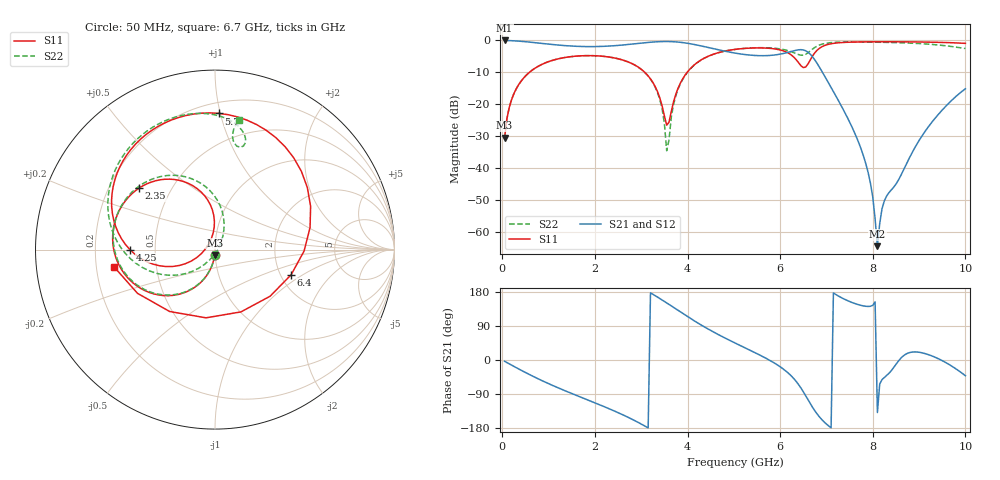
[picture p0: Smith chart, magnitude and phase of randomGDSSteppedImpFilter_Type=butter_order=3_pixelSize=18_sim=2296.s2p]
! freq	dB(S11)	phase(S11)	dB(S12)	phase(S12)
!  dB(S21)	phase(S21)	dB(S22)	phase(S22)
!S-par simulation data
#  GHz  S  DB  R 50
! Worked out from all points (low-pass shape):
!   200 points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, 50 MHz to 10 GHz, reference 50 ohm
!   highest |S21| = -0.01 dB at 50 MHz (marker M1); lowest = -64.3 dB at 8.1 GHz (marker M2)
!   |S21| within 3 dB of the highest: start of sweep to 4.692 GHz; 6.364 GHz to 6.507 GHz (142.6 MHz wide, 2.22 % of centre)
!   lowest |S11| = -30.4 dB at 50 MHz (marker M3), VSWR 1.06, Z = 49.7 - j3 ohm
!   |S11| at or under -10 dB: start of sweep to 583.7 MHz; 3.078 GHz to 3.99 GHz (912.1 MHz wide, 25.8 % of centre)
!   |S22| runs from -34.5 to -0.5 dB; largest |S21 - S12| = 0
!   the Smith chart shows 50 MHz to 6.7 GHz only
!   S11 on the Smith chart (normalised r, x): 50 MHz: 0.99, -0.06; 2.35 GHz: 0.33, +0.32; 4.25 GHz: 0.36, -0.00; 5.7 GHz: 0.28, +0.99; 6.4 GHz: 2.28, -0.80; 6.7 GHz: 0.27, -0.08
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0.05  -30.41 -93.5  -0.01 -3.4  -0.01 -3.4  -30.42 -93.5
0.2  -18.52 -103.9  -0.08 -13.5  -0.08 -13.5  -18.52 -104.1
0.5  -11.13 -123.2  -0.40 -33.0  -0.40 -33.0  -11.13 -123.8
1.75  -4.77 170.0  -1.91 -100.8  -1.91 -100.8  -4.78 167.8
2.35  -5.29 141.0  -1.72 -130.9  -1.72 -130.9  -5.29 137.3
3.4  -17.90 91.9  -0.38 162.4  -0.38 162.4  -18.36 65.8
3.55  -26.47 135.8  -0.34 150.6  -0.34 150.6  -34.47 7.5
3.8  -14.77 -154.5  -0.52 130.5  -0.52 130.5  -15.07 -136.4
4.25  -6.49 -179.9  -1.58 95.6  -1.58 95.6  -6.53 -173.5
5.05  -2.75 130.1  -4.02 43.4  -4.02 43.4  -2.75 135.5
5.7  -2.39 88.3  -4.75 4.2  -4.75 4.2  -2.28 101.1
6.1  -3.43 49.3  -3.98 -26.8  -3.98 -26.8  -2.93 81.4
6.4  -7.00 -18.2  -2.92 -65.3  -2.92 -65.3  -4.45 74.6
6.55  -8.33 -97.6  -3.22 -94.0  -3.22 -94.0  -4.34 80.1
6.7  -4.86 -170.5  -5.14 -124.9  -5.14 -124.9  -2.69 79.6
7.1  -1.03 108.9  -14.70 -178.8  -14.70 -178.8  -0.68 52.9
7.75  -0.46 57.3  -34.01 144.0  -34.01 144.0  -0.49 14.6
8  -0.43 42.8  -48.96 144.4  -48.96 144.4  -0.53 0.5
8.1  -0.42 37.2  -64.29 -138.7  -64.29 -138.7  -0.55 -5.2
8.35  -0.42 23.9  -47.57 -35.1  -47.57 -35.1  -0.63 -19.8
9.35  -0.57 -27.1  -24.23 7.1  -24.23 7.1  -1.33 -91.1
10  -0.91 -60.5  -15.11 -41.5  -15.11 -41.5  -2.53 -171.4
